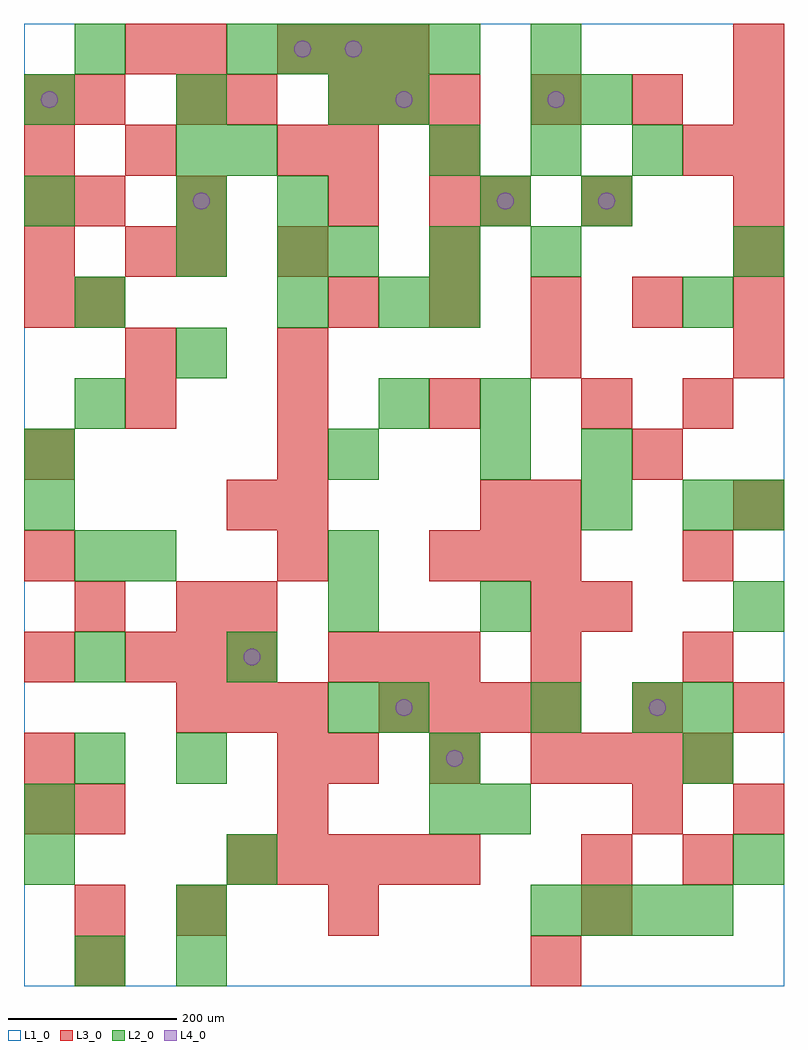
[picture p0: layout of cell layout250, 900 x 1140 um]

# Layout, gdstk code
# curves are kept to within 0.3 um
import gdstk
lib = gdstk.Library(unit=1e-6, precision=1e-09)
def R(c, l, rs):  # rectangles x0, y0, x1, y1
    for r in rs: c.add(gdstk.rectangle(r[:2], r[2:], *l))
def A(c, l, x, y, w, h, nx, ny, dx, dy):  # array of equal rectangles
    R(c, l, [(x+i*dx, y+j*dy, x+i*dx+w, y+j*dy+h) for i in range(nx) for j in range(ny)])
def P(c, l, *ps):  # polygons
    for p in ps: c.add(gdstk.Polygon(p, *l))
L1_0 = (1, 0)
L2_0 = (2, 0)
L3_0 = (3, 0)
L4_0 = (4, 0)

layout250 = lib.new_cell('layout250')
R(layout250, L1_0, [(0,0,900,1140)])
A(layout250, L2_0, 600, 60, 60, 60, 4, 1, 60, 0)
A(layout250, L2_0, 60, 240, 60, 60, 1, 3, 0, 120)
A(layout250, L2_0, 180, 240, 60, 60, 3, 1, 300, 0)
A(layout250, L2_0, 780, 300, 60, 60, 1, 3, 0, 240)
A(layout250, L2_0, 300, 780, 60, 60, 1, 3, 0, 60)
A(layout250, L2_0, 180, 840, 60, 60, 1, 3, 0, 60)
A(layout250, L2_0, 360, 840, 60, 60, 3, 1, 120, 0)
A(layout250, L2_0, 480, 960, 60, 60, 3, 1, 120, 0)
A(layout250, L2_0, 0, 1020, 60, 60, 3, 1, 180, 0)
A(layout250, L2_0, 240, 1080, 60, 60, 5, 1, 60, 0)
R(layout250, L2_0, [(60,0,120,60), (180,0,240,60), (180,60,240,120), (0,120,60,180), (240,120,300,180), (840,120,900,180), (0,180,60,240), (480,180,540,240), (540,180,600,240), (360,300,420,360), (420,300,480,360), (600,300,660,360), (720,300,780,360), (240,360,300,420), (360,420,420,480), (540,420,600,480), (840,420,900,480), (120,480,180,540), (360,480,420,540), (0,540,60,600), (660,540,720,600), (840,540,900,600), (0,600,60,660), (360,600,420,660), (540,600,600,660), (660,600,720,660), (60,660,120,720), (420,660,480,720), (540,660,600,720), (180,720,240,780), (60,780,120,840), (420,780,480,840), (480,780,540,840), (840,840,900,900), (0,900,60,960), (540,900,600,960), (660,900,720,960), (240,960,300,1020), (420,1020,480,1080), (600,1020,660,1080), (660,1020,720,1080), (60,1080,120,1140), (600,1080,660,1140)])
A(layout250, L3_0, 240, 120, 60, 60, 5, 1, 60, 0)
A(layout250, L3_0, 0, 240, 60, 60, 1, 4, 0, 120)
A(layout250, L3_0, 360, 240, 60, 60, 3, 1, 120, 0)
A(layout250, L3_0, 660, 240, 60, 60, 3, 1, 60, 0)
A(layout250, L3_0, 180, 300, 60, 60, 3, 1, 60, 0)
A(layout250, L3_0, 420, 300, 60, 60, 4, 1, 60, 0)
A(layout250, L3_0, 120, 360, 60, 60, 3, 1, 60, 0)
A(layout250, L3_0, 360, 360, 60, 60, 3, 2, 60, 660)
A(layout250, L3_0, 300, 480, 60, 60, 1, 3, 0, 60)
A(layout250, L3_0, 480, 480, 60, 60, 3, 1, 60, 0)
A(layout250, L3_0, 120, 660, 60, 60, 4, 1, 180, 0)
A(layout250, L3_0, 120, 720, 60, 60, 1, 4, 0, 120)
A(layout250, L3_0, 300, 720, 60, 60, 1, 3, 0, 120)
A(layout250, L3_0, 0, 780, 60, 60, 1, 5, 0, 60)
A(layout250, L3_0, 60, 780, 60, 60, 1, 3, 0, 120)
A(layout250, L3_0, 360, 780, 60, 60, 5, 1, 120, 0)
A(layout250, L3_0, 480, 840, 60, 60, 1, 3, 0, 60)
A(layout250, L3_0, 840, 840, 60, 60, 1, 3, 0, 60)
A(layout250, L3_0, 600, 1020, 60, 60, 3, 1, 120, 0)
A(layout250, L3_0, 300, 1080, 60, 60, 3, 1, 60, 0)
R(layout250, L3_0, [(60,0,120,60), (600,0,660,60), (60,60,120,120), (180,60,240,120), (360,60,420,120), (660,60,720,120), (660,120,720,180), (780,120,840,180), (0,180,60,240), (60,180,120,240), (300,180,360,240), (720,180,780,240), (840,180,900,240), (300,240,360,300), (720,300,780,360), (840,300,900,360), (600,360,660,420), (780,360,840,420), (60,420,120,480), (180,420,240,480), (240,420,300,480), (600,420,660,480), (660,420,720,480), (780,480,840,540), (240,540,300,600), (540,540,600,600), (600,540,660,600), (840,540,900,600), (720,600,780,660), (780,660,840,720), (600,720,660,780), (840,720,900,780), (180,840,240,900), (180,900,240,960), (360,900,420,960), (540,900,600,960), (660,900,720,960), (360,960,420,1020), (780,960,840,1020), (180,1020,240,1080), (240,1020,300,1080), (180,1080,240,1140), (840,1080,900,1140)])
P(layout250, L4_0, [(40,1050),(39.239,1053.827),(37.071,1057.071),(33.827,1059.239),(30,1060),(26.173,1059.239),(22.929,1057.071),(20.761,1053.827),(20,1050),(20.761,1046.173),(22.929,1042.929),(26.173,1040.761),(30,1040),(33.827,1040.761),(37.071,1042.929),(39.239,1046.173)],
  [(220,930),(219.239,933.827),(217.071,937.071),(213.827,939.239),(210,940),(206.173,939.239),(202.929,937.071),(200.761,933.827),(200,930),(200.761,926.173),(202.929,922.929),(206.173,920.761),(210,920),(213.827,920.761),(217.071,922.929),(219.239,926.173)],
  [(280,390),(279.239,393.827),(277.071,397.071),(273.827,399.239),(270,400),(266.173,399.239),(262.929,397.071),(260.761,393.827),(260,390),(260.761,386.173),(262.929,382.929),(266.173,380.761),(270,380),(273.827,380.761),(277.071,382.929),(279.239,386.173)],
  [(340,1110),(339.239,1113.827),(337.071,1117.071),(333.827,1119.239),(330,1120),(326.173,1119.239),(322.929,1117.071),(320.761,1113.827),(320,1110),(320.761,1106.173),(322.929,1102.929),(326.173,1100.761),(330,1100),(333.827,1100.761),(337.071,1102.929),(339.239,1106.173)],
  [(400,1110),(399.239,1113.827),(397.071,1117.071),(393.827,1119.239),(390,1120),(386.173,1119.239),(382.929,1117.071),(380.761,1113.827),(380,1110),(380.761,1106.173),(382.929,1102.929),(386.173,1100.761),(390,1100),(393.827,1100.761),(397.071,1102.929),(399.239,1106.173)],
  [(460,330),(459.239,333.827),(457.071,337.071),(453.827,339.239),(450,340),(446.173,339.239),(442.929,337.071),(440.761,333.827),(440,330),(440.761,326.173),(442.929,322.929),(446.173,320.761),(450,320),(453.827,320.761),(457.071,322.929),(459.239,326.173)],
  [(460,1050),(459.239,1053.827),(457.071,1057.071),(453.827,1059.239),(450,1060),(446.173,1059.239),(442.929,1057.071),(440.761,1053.827),(440,1050),(440.761,1046.173),(442.929,1042.929),(446.173,1040.761),(450,1040),(453.827,1040.761),(457.071,1042.929),(459.239,1046.173)],
  [(520,270),(519.239,273.827),(517.071,277.071),(513.827,279.239),(510,280),(506.173,279.239),(502.929,277.071),(500.761,273.827),(500,270),(500.761,266.173),(502.929,262.929),(506.173,260.761),(510,260),(513.827,260.761),(517.071,262.929),(519.239,266.173)],
  [(580,930),(579.239,933.827),(577.071,937.071),(573.827,939.239),(570,940),(566.173,939.239),(562.929,937.071),(560.761,933.827),(560,930),(560.761,926.173),(562.929,922.929),(566.173,920.761),(570,920),(573.827,920.761),(577.071,922.929),(579.239,926.173)],
  [(640,1050),(639.239,1053.827),(637.071,1057.071),(633.827,1059.239),(630,1060),(626.173,1059.239),(622.929,1057.071),(620.761,1053.827),(620,1050),(620.761,1046.173),(622.929,1042.929),(626.173,1040.761),(630,1040),(633.827,1040.761),(637.071,1042.929),(639.239,1046.173)],
  [(700,930),(699.239,933.827),(697.071,937.071),(693.827,939.239),(690,940),(686.173,939.239),(682.929,937.071),(680.761,933.827),(680,930),(680.761,926.173),(682.929,922.929),(686.173,920.761),(690,920),(693.827,920.761),(697.071,922.929),(699.239,926.173)],
  [(760,330),(759.239,333.827),(757.071,337.071),(753.827,339.239),(750,340),(746.173,339.239),(742.929,337.071),(740.761,333.827),(740,330),(740.761,326.173),(742.929,322.929),(746.173,320.761),(750,320),(753.827,320.761),(757.071,322.929),(759.239,326.173)])

lib.write_gds('layout250.gds')
